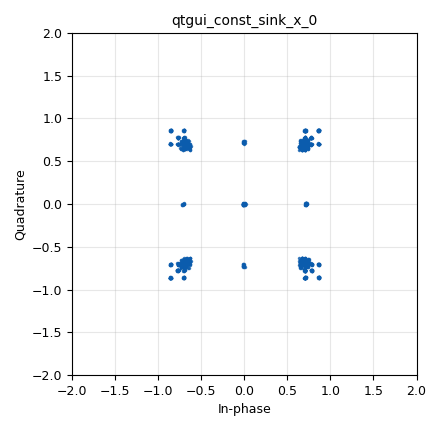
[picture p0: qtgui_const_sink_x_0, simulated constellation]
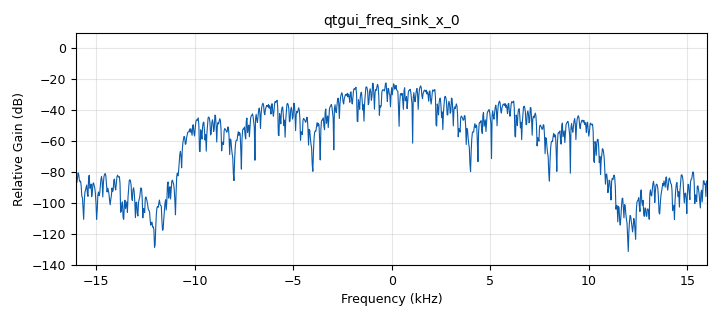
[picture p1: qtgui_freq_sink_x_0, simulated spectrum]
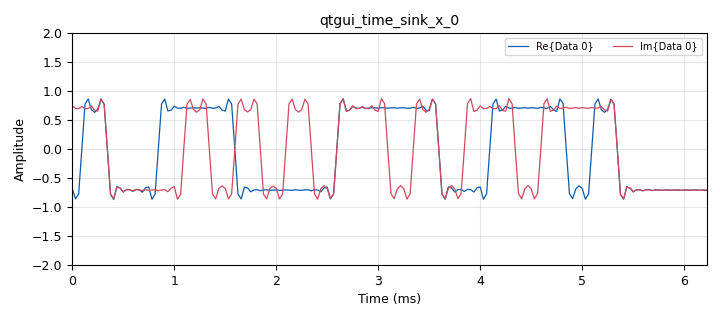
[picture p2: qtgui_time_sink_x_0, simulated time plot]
options:
  parameters:
    category: Custom
    generate_options: qt_gui
    id: mpsk_stage2
    output_language: python
  states: {}

blocks:
- name: arity
  id: variable
  parameters:
    value: '4'
  states: {}
- name: excess_bw
  id: variable
  parameters:
    value: '0.35'
  states: {}
- name: freq_offset
  id: variable_qtgui_range
  parameters:
    gui_hint: 0,2,1,1
    label: 'Channel: Frequency Offset'
    start: '-0.1'
    step: '0.001'
    stop: '0.1'
    value: '0'
    widget: slider
  states: {}
- name: noise_volt
  id: variable_qtgui_range
  parameters:
    gui_hint: 0,0,1,1
    label: 'Channel: Noise Voltage'
    start: '0'
    step: '0.01'
    stop: '1'
    value: '0.0001'
    widget: slider
  states: {}
- name: qpsk
  id: variable_constellation_rect
  parameters:
    const_points: '[0.707+0.707j, -0.707+0.707j, -0.707-0.707j, 0.707-0.707j]'
    imag_sect: '2'
    real_sect: '2'
    rot_sym: '4'
    sym_map: '[0, 1, 2, 3]'
    w_imag_sect: '1'
    w_real_sect: '1'
  states: {}
- name: samp_rate
  id: variable
  parameters:
    value: '32000'
  states: {}
- name: sps
  id: variable
  parameters:
    value: '2'
  states: {}
- name: taps
  id: variable
  parameters:
    value: '[1.0, 0.25-0.25j, 0.50 + 0.10j, -0.3 + 0.2j]'
  states: {state: disabled}
- name: taps
  id: variable
  parameters:
    value: '[1.0 + 0.0j, ]'
  states: {}
- name: time_offset
  id: variable_qtgui_range
  parameters:
    gui_hint: 0,1,1,1
    label: 'Channel: Timing Offset'
    start: '0.999'
    step: '0.0001'
    stop: '1.001'
    value: '1.00'
    widget: slider
  states: {}
- name: analog_random_source_x_0
  id: analog_random_source_x
  parameters:
    max: '4'
    min: '0'
    num_samps: '10000'
    repeat: 'True'
    type: byte
  states: {}
- name: blocks_throttle_0
  id: blocks_throttle
  parameters:
    samples_per_second: samp_rate
    type: complex
  states: {}
- name: channels_channel_model_0
  id: channels_channel_model
  parameters:
    epsilon: time_offset
    freq_offset: freq_offset
    noise_voltage: noise_volt
    seed: '0'
    taps: taps
  states: {state: disabled}
- name: digital_constellation_modulator_0
  id: digital_constellation_modulator
  parameters:
    constellation: qpsk
    differential: 'True'
    excess_bw: excess_bw
    samples_per_symbol: sps
  states: {}
- name: dtv_dvbt2_pilotgenerator_cc_0
  id: dtv_dvbt2_pilotgenerator_cc
  parameters:
    carriermode: CARRIERS_NORMAL
    equalization: EQUALIZATION_OFF
    fftsize: FFTSIZE_1K
    guardinterval: GI_1_32
    numdatasyms: '100'
    paprmode1: PAPR_OFF
    pilotpattern: PILOT_PP1
    preamble1: PREAMBLE_T2_SISO
    version: VERSION_111
  states: {}
- name: fft_vxx_0
  id: fft_vxx
  parameters:
    fft_size: '1024'
    forward: 'False'
    shift: 'True'
    type: complex
    window: window.blackmanharris(1024)
  states: {}
- name: qtgui_const_sink_x_0
  id: qtgui_const_sink_x
  parameters:
    gui_hint: 1,2,1,2
    name: ''
    size: '1024'
    type: complex
  states: {}
- name: qtgui_freq_sink_x_0
  id: qtgui_freq_sink_x
  parameters:
    bw: samp_rate
    fc: '0'
    fftsize: '1024'
    gui_hint: 2,0,1,4
    name: ''
    showports: 'True'
    type: complex
    width1: '2'
  states: {}
- name: qtgui_time_sink_x_0
  id: qtgui_time_sink_x
  parameters:
    gui_hint: 1,0,1,2
    label1: ''
    label2: ''
    name: ''
    size: '200'
    srate: samp_rate
    type: complex
    ymax: '2'
    ymin: '-2'
  states: {}

connections:
- [analog_random_source_x_0, '0', digital_constellation_modulator_0, '0']
- [blocks_throttle_0, '0', qtgui_const_sink_x_0, '0']
- [blocks_throttle_0, '0', qtgui_freq_sink_x_0, '0']
- [blocks_throttle_0, '0', qtgui_time_sink_x_0, '0']
- [channels_channel_model_0, '0', qtgui_const_sink_x_0, '0']
- [channels_channel_model_0, '0', qtgui_freq_sink_x_0, '0']
- [channels_channel_model_0, '0', qtgui_time_sink_x_0, '0']
- [digital_constellation_modulator_0, '0', blocks_throttle_0, '0']

metadata:
  file_format: 1
